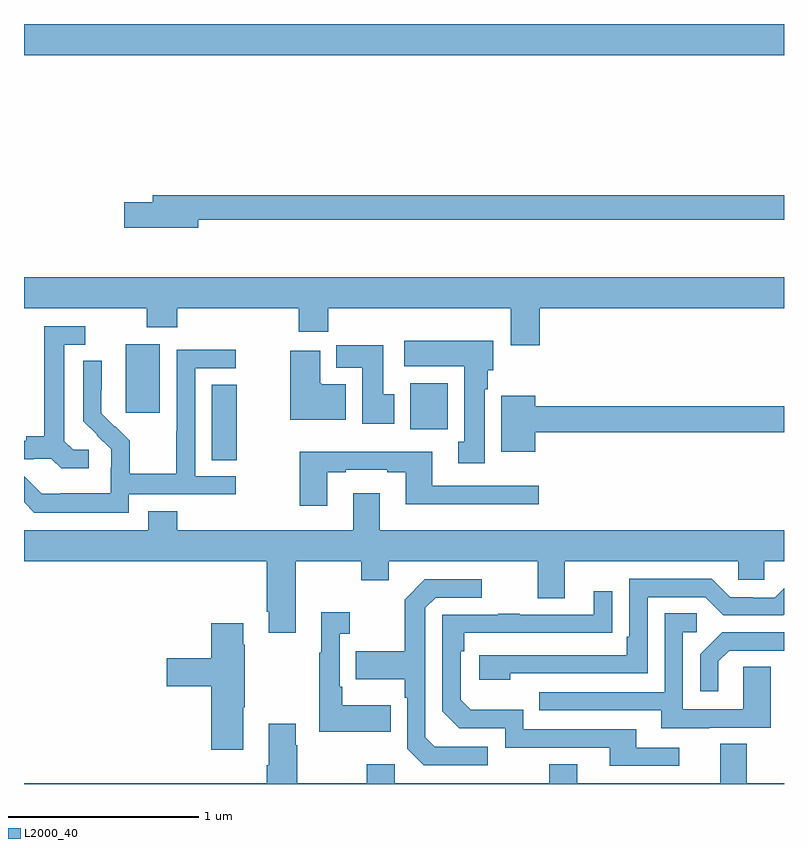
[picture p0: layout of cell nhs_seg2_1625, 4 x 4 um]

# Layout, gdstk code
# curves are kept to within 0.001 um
import gdstk
lib = gdstk.Library(unit=1e-6, precision=1e-09)
def R(c, l, rs):  # rectangles x0, y0, x1, y1
    for r in rs: c.add(gdstk.rectangle(r[:2], r[2:], *l))
def P(c, l, *ps):  # polygons
    for p in ps: c.add(gdstk.Polygon(p, *l))
L2000_40 = (2000, 40)

nhs_seg2_1625 = lib.new_cell('nhs_seg2_1625')
R(nhs_seg2_1625, L2000_40, [(195.989,645.505,196.12,645.902), (197.033,645.668,197.23,645.91), (195.536,645.753,195.715,646.114), (195,647.636,199,647.8)])
P(nhs_seg2_1625, L2000_40, [(195.916,646.77),(199,646.77),(199,646.898),(195.677,646.898),(195.677,646.862),(195.528,646.862),(195.528,646.727),(195.916,646.727)],
  [(197.714,646.304),(199,646.304),(199,646.468),(195,646.468),(195,646.304),(195.646,646.304),(195.646,646.205),(195.806,646.205),(195.806,646.304),(196.445,646.304),(196.445,646.18),(196.601,646.18),(196.601,646.304),(197.561,646.304),(197.561,646.11),(197.714,646.11)],
  [(195.34,645.558),(195.258,645.558),(195.211,645.605),(195.211,646.113),(195.322,646.113),(195.322,646.209),(195.107,646.209),(195.107,645.629),(195.011,645.629),(195.011,645.606),(195,645.606),(195,645.51),(195.05,645.51),(195.05,645.513),(195.144,645.513),(195.196,645.461),(195.34,645.461)],
  [(197.425,645.878),(197.44,645.878),(197.44,645.978),(197.47,645.978),(197.47,646.132),(197.001,646.132),(197.001,645.998),(197.318,645.998),(197.318,645.602),(197.285,645.602),(197.285,645.489),(197.425,645.489)],
  [(196.948,645.852),(196.891,645.852),(196.891,646.11),(196.643,646.11),(196.643,645.992),(196.781,645.992),(196.781,645.696),(196.948,645.696)],
  [(195.552,645.324),(196.114,645.324),(196.114,645.42),(195.9,645.42),(195.9,645.987),(196.114,645.987),(196.114,646.086),(195.804,646.086),(195.804,645.656),(195.802,645.656),(195.802,645.433),(195.557,645.433),(195.557,645.607),(195.48,645.684),(195.477,645.681),(195.407,645.752),(195.408,646.028),(195.312,646.028),(195.312,645.71),(195.458,645.562),(195.458,645.465),(195.456,645.465),(195.456,645.331),(195.193,645.331),(195.193,645.327),(195.093,645.327),(195,645.42),(195,645.282),(195.055,645.227),(195.552,645.227)],
  [(196.693,645.904),(196.564,645.904),(196.564,645.91),(196.558,645.91),(196.558,646.081),(196.4,646.081),(196.4,645.716),(196.693,645.716)],
  [(197.692,645.652),(199,645.652),(199,645.788),(197.692,645.788),(197.692,645.844),(197.513,645.844),(197.513,645.548),(197.692,645.548)],
  [(196.597,645.441),(196.693,645.441),(196.693,645.453),(196.913,645.453),(196.913,645.441),(197.009,645.441),(197.009,645.272),(197.71,645.272),(197.71,645.369),(197.149,645.369),(197.149,645.55),(196.45,645.55),(196.45,645.264),(196.597,645.264)],
  [(196.429,644.972),(196.774,644.972),(196.774,644.873),(196.921,644.873),(196.921,644.972),(197.705,644.972),(197.705,644.778),(197.845,644.778),(197.845,644.972),(198.759,644.972),(198.759,644.874),(198.897,644.874),(198.897,644.972),(199,644.972),(199,645.136),(196.873,645.136),(196.873,645.331),(196.733,645.331),(196.733,645.136),(195.806,645.136),(195.806,645.235),(195.653,645.235),(195.653,645.136),(195,645.136),(195,644.972),(196.277,644.972),(196.277,644.707),(196.289,644.707),(196.289,644.595),(196.429,644.595)],
  [(197.558,644.382),(198.282,644.382),(198.282,644.784),(198.585,644.784),(198.681,644.688),(198.996,644.688),(199,644.692),(199,644.83),(198.951,644.781),(198.836,644.781),(198.836,644.784),(198.717,644.784),(198.621,644.88),(198.186,644.88),(198.186,644.575),(198.173,644.575),(198.173,644.478),(197.397,644.478),(197.397,644.348),(197.558,644.348)],
  [(197.44,643.995),(197.163,643.995),(197.112,644.046),(197.112,644.727),(197.166,644.781),(197.41,644.781),(197.41,644.877),(197.109,644.877),(197.004,644.771),(197.004,644.499),(196.747,644.499),(196.747,644.351),(197.004,644.351),(197.004,644.255),(197.016,644.255),(197.016,643.986),(197.103,643.899),(197.44,643.899)],
  [(198.448,643.992),(198.223,643.992),(198.223,644.088),(197.628,644.088),(197.628,644.191),(197.351,644.191),(197.298,644.244),(197.298,644.498),(197.318,644.498),(197.318,644.595),(198.095,644.596),(198.095,644.815),(197.999,644.815),(197.999,644.691),(197.609,644.691),(197.609,644.696),(197.497,644.696),(197.497,644.691),(197.202,644.691),(197.202,644.184),(197.292,644.094),(197.532,644.094),(197.532,643.992),(198.083,643.992),(198.083,643.896),(198.448,643.896)],
  [(196.931,644.215),(196.675,644.215),(196.675,644.311),(196.662,644.311),(196.662,644.591),(196.714,644.591),(196.714,644.704),(196.565,644.704),(196.565,644.491),(196.554,644.491),(196.554,644.075),(196.931,644.075)],
  [(198.607,644.097),(198.931,644.097),(198.931,644.417),(198.786,644.417),(198.786,644.193),(198.468,644.193),(198.468,644.598),(198.541,644.598),(198.541,644.699),(198.372,644.699),(198.372,644.283),(197.713,644.283),(197.713,644.187),(198.353,644.187),(198.353,644.093),(198.607,644.093)],
  [(196.153,644.203),(196.161,644.203),(196.161,644.534),(196.153,644.534),(196.153,644.647),(195.986,644.647),(195.986,644.462),(195.75,644.462),(195.75,644.315),(195.986,644.315),(195.986,643.98),(196.153,643.98)],
  [(198.655,644.445),(198.712,644.502),(199,644.502),(199,644.598),(198.674,644.598),(198.558,644.482),(198.558,644.289),(198.655,644.289)],
  [(199,643.804),(198.805,643.804),(198.805,644.012),(198.665,644.012),(198.665,643.804),(197.911,643.804),(197.911,643.903),(197.764,643.903),(197.764,643.804),(196.95,643.804),(196.95,643.903),(196.804,643.903),(196.804,643.804),(196.437,643.804),(196.437,644.003),(196.429,644.003),(196.429,644.116),(196.289,644.116),(196.289,643.9),(196.277,643.9),(196.277,643.804),(195,643.804),(195,643.8),(199,643.8)])

lib.write_gds('nhs_seg2_1625.gds')
